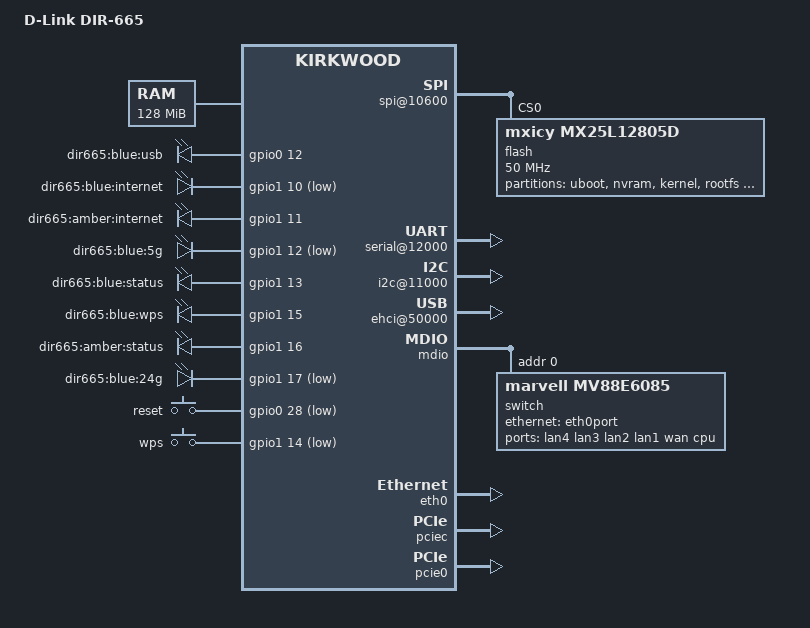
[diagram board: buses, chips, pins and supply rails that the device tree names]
// SPDX-License-Identifier: GPL-2.0
/*
 * Copyright (C) 2014 Claudio Leite <leitec@staticky.com>
 *
 */

/dts-v1/;

#include "kirkwood.dtsi"
#include "kirkwood-6281.dtsi"

/ {
	model = "D-Link DIR-665";
	compatible = "dlink,dir-665", "marvell,kirkwood-88f6281", "marvell,kirkwood";

	memory {
		device_type = "memory";
		reg = <0x00000000 0x8000000>; /* 128 MB */
	};

	chosen {
		bootargs = "console=ttyS0,115200n8 earlyprintk";
		stdout-path = &uart0;
	};

	ocp@f1000000 {
		pinctrl: pin-controller@10000 {
			pinctrl-0 =< &pmx_led_usb
				     &pmx_led_internet_blue
				     &pmx_led_internet_amber
				     &pmx_led_5g &pmx_led_status_blue
				     &pmx_led_wps &pmx_led_status_amber
				     &pmx_led_24g
				     &pmx_btn_restart &pmx_btn_wps>;
			pinctrl-names = "default";

			pmx_led_usb: pmx-led-usb {
				marvell,pins = "mpp12";
				marvell,function = "gpio";
			};
			pmx_led_internet_blue: pmx-led-internet-blue {
				marvell,pins = "mpp42";
				marvell,function = "gpio";
			};
			pmx_led_internet_amber: pmx-led-internet-amber {
				marvell,pins = "mpp43";
				marvell,function = "gpio";
			};
			pmx_led_5g: pmx-led-5g {
				marvell,pins = "mpp44";
				marvell,function = "gpio";
			};
			pmx_led_status_blue: pmx-led-status-blue {
				marvell,pins = "mpp45";
				marvell,function = "gpio";
			};
			pmx_led_wps: pmx-led-wps {
				marvell,pins = "mpp47";
				marvell,function = "gpio";
			};
			pmx_led_status_amber: pmx-led-status-amber {
				marvell,pins = "mpp48";
				marvell,function = "gpio";
			};
			pmx_led_24g: pmx-led-24g {
				marvell,pins = "mpp49";
				marvell,function = "gpio";
			};
			pmx_btn_restart: pmx-btn-restart {
				marvell,pins = "mpp28";
				marvell,function = "gpio";
			};
			pmx_btn_wps: pmx-btn-wps {
				marvell,pins = "mpp46";
				marvell,function = "gpio";
			};
		};

		spi@10600 {
			status = "okay";
			flash@0 {
				#address-cells = <1>;
				#size-cells = <1>;
				compatible = "mxicy,mx25l12805d", "jedec,spi-nor";
				spi-max-frequency = <50000000>;
				reg = <0>;

				partition@0 {
					label = "uboot";
					reg = <0x0 0x30000>;
					read-only;
				};

				partition@30000 {
					label = "nvram";
					reg = <0x30000 0x10000>;
					read-only;
				};

				partition@40000 {
					label = "kernel";
					reg = <0x40000 0x180000>;
				};

				partition@1c0000 {
					label = "rootfs";
					reg = <0x1c0000 0xe00000>;
				};

				cal_data: partition@fc0000 {
					label = "cal_data";
					reg = <0xfc0000 0x10000>;
					read-only;
				};

				partition@fd0000 {
					label = "lang_pack";
					reg = <0xfd0000 0x30000>;
					read-only;
				};
			};
		};

		serial@12000 {
			status = "okay";
		};

		i2c@11000 {
			status = "okay";
		};

		ehci@50000 {
			status = "okay";
		};
	};

	gpio-leds {
		compatible = "gpio-leds";

		blue-usb {
			label = "dir665:blue:usb";
			gpios = <&gpio0 12 GPIO_ACTIVE_HIGH>;
		};
		blue-internet {
			/* Can only be turned on if the Internet
			 * Ethernet port has Link
			 */
			label = "dir665:blue:internet";
			gpios = <&gpio1 10 GPIO_ACTIVE_LOW>;
		};
		amber-internet {
			label = "dir665:amber:internet";
			gpios = <&gpio1 11 GPIO_ACTIVE_HIGH>;
		};
		blue-wifi5g {
			label = "dir665:blue:5g";
			gpios = <&gpio1 12 GPIO_ACTIVE_LOW>;
		};
		blue-status {
			label = "dir665:blue:status";
			gpios = <&gpio1 13 GPIO_ACTIVE_HIGH>;
		};
		blue-wps {
			label = "dir665:blue:wps";
			gpios = <&gpio1 15 GPIO_ACTIVE_HIGH>;
		};
		amber-status {
			label = "dir665:amber:status";
			gpios = <&gpio1 16 GPIO_ACTIVE_HIGH>;
		};
		blue-24g {
			label = "dir665:blue:24g";
			gpios = <&gpio1 17 GPIO_ACTIVE_LOW>;
		};
	};

	gpio-keys {
		compatible = "gpio-keys";
		#address-cells = <1>;
		#size-cells = <0>;

		reset {
			label = "reset";
			linux,code = <KEY_RESTART>;
			gpios = <&gpio0 28 GPIO_ACTIVE_LOW>;
		};
		wps {
			label = "wps";
			linux,code = <KEY_WPS_BUTTON>;
			gpios = <&gpio1 14 GPIO_ACTIVE_LOW>;
		};
	};
};

&mdio {
	status = "okay";

	switch@0 {
		compatible = "marvell,mv88e6085";
		#address-cells = <1>;
		#size-cells = <0>;
		reg = <0>;

		ports {
			#address-cells = <1>;
			#size-cells = <0>;

			port@0 {
				reg = <0>;
				label = "lan4";
			};

			port@1 {
			       reg = <1>;
			       label = "lan3";
			};

			port@2 {
			       reg = <2>;
			       label = "lan2";
			};

			port@3 {
			       reg = <3>;
			       label = "lan1";
			};

			port@4 {
				reg = <4>;
				label = "wan";
			};

			port@6 {
				reg = <6>;
				label = "cpu";
				ethernet = <&eth0port>;
				fixed-link {
					speed = <1000>;
					full-duplex;
				};
			};
		};
	};
};

/* eth0 is connected to a Marvell 88E6171 switch, without a PHY. So set
 * fixed speed and duplex. */
&eth0 {
	status = "okay";

	ethernet0-port@0 {
		speed = <1000>;
		duplex = <1>;
	};
};

/* eth1 is connected to the switch as well. However DSA only supports a
 * single CPU port. So leave this port disabled to avoid confusion. */

&eth1 {
	status = "disabled";
};

/* There is no battery on the boards, so the RTC does not keep time
 * when there is no power, making it useless. */
&rtc {
	status = "disabled";
};

&pciec {
        status = "okay";
};

&pcie0 {
	status = "okay";
};
